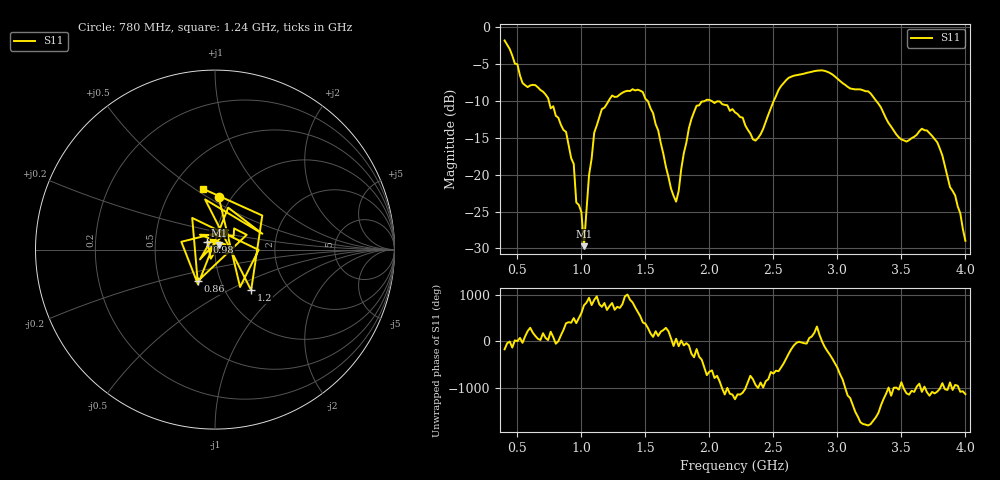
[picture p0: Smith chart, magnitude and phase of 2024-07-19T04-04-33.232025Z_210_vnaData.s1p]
!Created with skrf (http://scikit-rf.org).
# Hz S RI R 50.0
!freq ReS11 ImS11
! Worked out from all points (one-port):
!   181 points, 400 MHz to 4 GHz, reference 50 ohm
!   lowest |S11| = -29.7 dB at 1.02 GHz (marker M1), VSWR 1.07, Z = 52.1 + j2.64 ohm
!   |S11| at or under -10 dB: 745.4 MHz to 1.212 GHz (466.9 MHz wide, 47.7 % of centre); 2.016 GHz to 2.503 GHz (486.2 MHz wide, 21.5 % of centre); 3.303 GHz to end of sweep (the widest 3 of 4)
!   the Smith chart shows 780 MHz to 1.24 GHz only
!   S11 on the Smith chart (normalised r, x): 780 MHz: 0.88, +0.56; 860 MHz: 0.78, -0.29; 980 MHz: 0.91, +0.08; 1.2 GHz: 1.32, -0.66; 1.24 GHz: 0.71, +0.54
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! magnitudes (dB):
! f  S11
! 400 MHz  -1.8
! 540 MHz  -7.6
! 780 MHz  -10.7
! 860 MHz  -13.9
! 940 MHz  -18.5
! 960 MHz  -23.8
! 980 MHz  -24.1
! 1 GHz  -25.1
! 1.02 GHz  -29.7
! 1.06 GHz  -20.0
! 1.1 GHz  -14.3
! 1.2 GHz  -10.4
! 1.24 GHz  -9.3
! 1.3 GHz  -9.1
! 1.48 GHz  -8.8
! 1.6 GHz  -14.0
! 1.72 GHz  -22.9
! 1.76 GHz  -22.2
! 1.84 GHz  -13.7
! 1.9 GHz  -10.6
! 2.2 GHz  -11.5
! 2.36 GHz  -15.4
! 2.66 GHz  -6.6
! 3.1 GHz  -8.3
! 3.24 GHz  -8.7
! 3.56 GHz  -15.3
! 3.78 GHz  -15.6
! 4 GHz  -29.0
